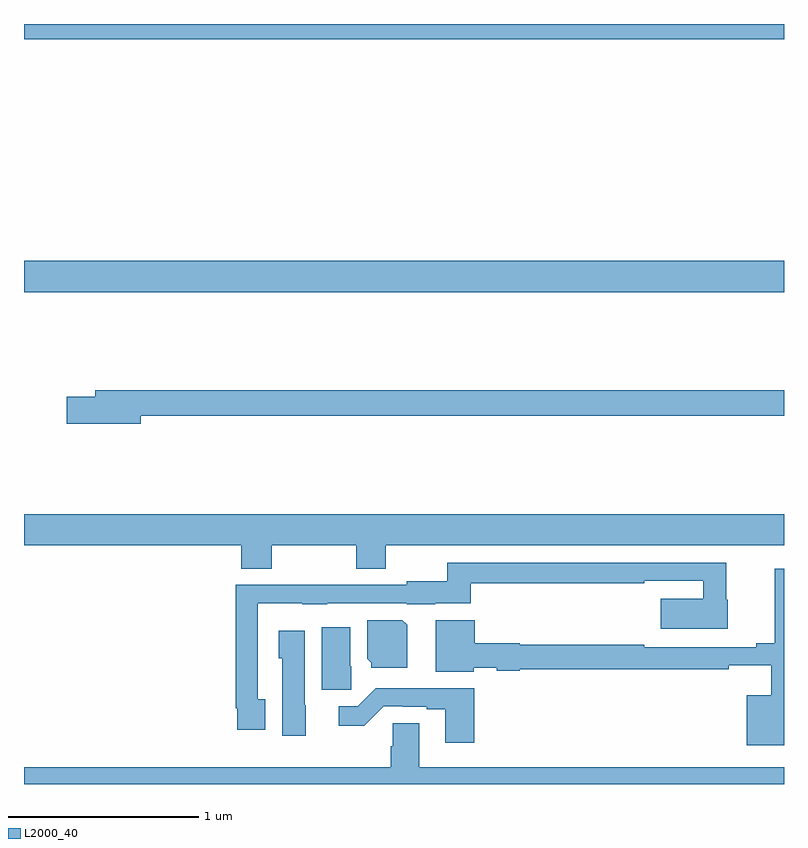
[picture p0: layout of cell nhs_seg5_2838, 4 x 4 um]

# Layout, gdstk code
import gdstk
lib = gdstk.Library(unit=1e-6, precision=1e-09)
def R(c, l, rs):  # rectangles x0, y0, x1, y1
    for r in rs: c.add(gdstk.rectangle(r[:2], r[2:], *l))
def P(c, l, *ps):  # polygons
    for p in ps: c.add(gdstk.Polygon(p, *l))
L2000_40 = (2000, 40)

nhs_seg5_2838 = lib.new_cell('nhs_seg5_2838')
R(nhs_seg5_2838, L2000_40, [(275,895.388,279,895.552), (275,896.72,279,896.799)])
P(nhs_seg5_2838, L2000_40, [(275.614,894.736),(279,894.736),(279,894.872),(275.375,894.872),(275.375,894.836),(275.226,894.836),(275.226,894.694),(275.614,894.694)],
  [(276.303,894.056),(276.748,894.056),(276.748,893.932),(276.903,893.932),(276.903,894.056),(279,894.056),(279,894.22),(275,894.22),(275,894.056),(276.143,894.056),(276.143,893.932),(276.303,893.932)],
  [(276.271,893.246),(276.231,893.246),(276.231,893.75),(276.465,893.75),(276.465,893.744),(276.597,893.744),(276.597,893.751),(277.014,893.751),(277.014,893.744),(277.164,893.744),(277.164,893.75),(277.351,893.75),(277.351,893.856),(278.264,893.856),(278.264,893.868),(278.575,893.868),(278.575,893.773),(278.352,893.773),(278.352,893.615),(278.704,893.615),(278.704,893.769),(278.696,893.769),(278.696,893.964),(277.227,893.964),(277.227,893.866),(277.014,893.866),(277.014,893.847),(276.597,893.847),(276.597,893.849),(276.365,893.849),(276.365,893.847),(276.115,893.847),(276.115,893.197),(276.123,893.197),(276.123,893.085),(276.271,893.085)],
  [(279,893.932),(278.951,893.932),(278.951,893.54),(278.855,893.54),(278.855,893.52),(278.264,893.52),(278.264,893.533),(277.608,893.533),(277.608,893.541),(277.372,893.541),(277.372,893.66),(277.166,893.66),(277.166,893.39),(277.368,893.39),(277.368,893.411),(277.488,893.411),(277.488,893.396),(277.608,893.396),(277.608,893.404),(278.708,893.404),(278.708,893.423),(278.934,893.423),(278.934,893.266),(278.804,893.266),(278.804,893.003),(279,893.003)],
  [(277.018,893.636),(276.992,893.662),(276.806,893.662),(276.806,893.458),(276.828,893.436),(276.828,893.411),(277.018,893.411)],
  [(276.722,893.418),(276.718,893.418),(276.718,893.623),(276.566,893.623),(276.566,893.295),(276.722,893.295)],
  [(276.484,893.214),(276.478,893.214),(276.478,893.605),(276.341,893.605),(276.341,893.46),(276.359,893.46),(276.359,893.052),(276.484,893.052)],
  [(277.37,893.302),(276.85,893.302),(276.756,893.208),(276.657,893.208),(276.657,893.106),(276.792,893.106),(276.894,893.208),(276.994,893.208),(276.994,893.205),(277.121,893.205),(277.121,893.193),(277.217,893.193),(277.217,893.016),(277.37,893.016)],
  [(279,892.888),(277.081,892.888),(277.081,893.12),(276.942,893.12),(276.942,892.998),(276.929,892.998),(276.929,892.888),(275,892.888),(275,892.799),(279,892.799)])

lib.write_gds('nhs_seg5_2838.gds')
